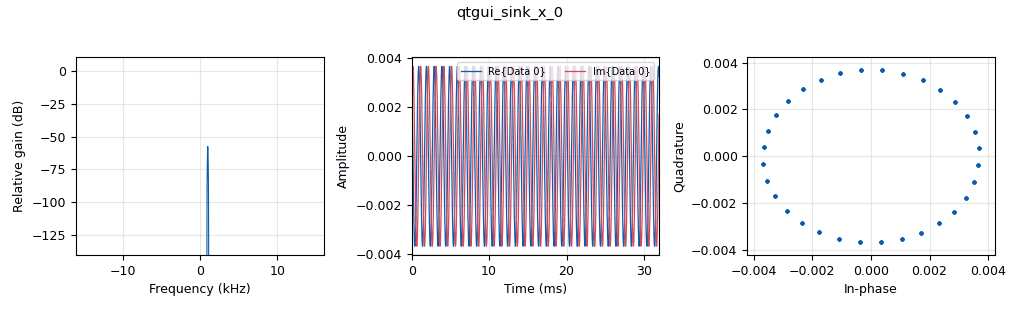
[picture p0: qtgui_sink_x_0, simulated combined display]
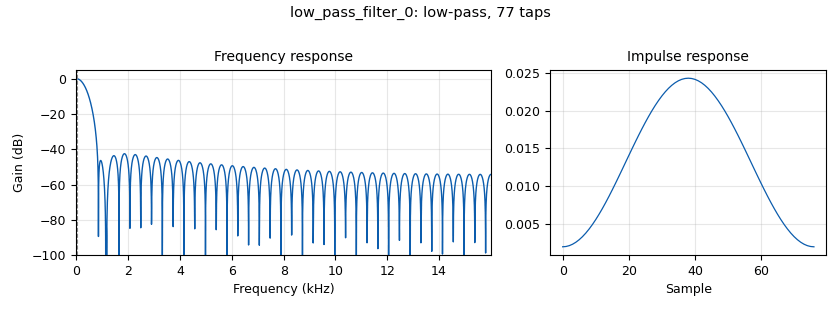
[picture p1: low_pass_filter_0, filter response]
options:
  parameters:
    generate_options: qt_gui
    id: link
    output_language: python
    title: Not titled yet
  states: {}

blocks:
- name: samp_rate
  id: variable
  parameters:
    value: '32000'
  states: {}
- name: analog_sig_source_x_0
  id: analog_sig_source_x
  parameters:
    amp: '1'
    freq: '1000'
    offset: '0'
    phase: '0'
    samp_rate: samp_rate
    type: complex
    waveform: analog.GR_COS_WAVE
  states: {}
- name: blocks_add_xx_0
  id: blocks_add_xx
  parameters:
    type: complex
  states: {}
- name: blocks_add_xx_1
  id: blocks_add_xx
  parameters:
    type: complex
  states: {}
- name: blocks_multiply_const_vxx_0
  id: blocks_multiply_const_vxx
  parameters:
    const: '1'
    type: complex
  states: {}
- name: blocks_phase_shift_0
  id: blocks_phase_shift
  parameters:
    is_radians: 'True'
    shift: '5.0'
  states: {}
- name: blocks_throttle2_0
  id: blocks_throttle2
  parameters:
    samples_per_second: samp_rate
    type: complex
  states: {}
- name: blocks_vector_source_x_0
  id: blocks_vector_source_x
  parameters:
    repeat: 'True'
    type: complex
    vector: (0, 0, 0)
  states: {}
- name: dc_blocker_xx_0
  id: dc_blocker_xx
  parameters:
    length: '32'
    long_form: 'True'
    type: cc
  states: {}
- name: digital_crc_check_0
  id: digital_crc_check
  parameters:
    poly: '0x4C11DB7'
  states: {}
- name: low_pass_filter_0
  id: low_pass_filter
  parameters:
    cutoff_freq: '10'
    gain: '1'
    interp: '1'
    samp_rate: samp_rate
    type: interp_fir_filter_ccf
    width: '1000'
    win: window.WIN_HAMMING
  states: {}
- name: pdu_random_pdu_0
  id: pdu_random_pdu
  parameters:
    length_modulo: '2'
    mask: '0xFF'
    maxsize: '2000'
    minsize: '50'
  states: {}
- name: qtgui_sink_x_0
  id: qtgui_sink_x
  parameters:
    bw: samp_rate
    fc: '0'
    fftsize: '1024'
    type: complex
  states: {}

connections:
- [analog_sig_source_x_0, '0', blocks_add_xx_0, '1']
- [blocks_add_xx_0, '0', blocks_phase_shift_0, '0']
- [blocks_add_xx_1, '0', blocks_throttle2_0, '0']
- [blocks_multiply_const_vxx_0, '0', dc_blocker_xx_0, '0']
- [blocks_phase_shift_0, '0', low_pass_filter_0, '0']
- [blocks_throttle2_0, '0', qtgui_sink_x_0, '0']
- [blocks_vector_source_x_0, '0', blocks_add_xx_0, '0']
- [blocks_vector_source_x_0, '0', blocks_multiply_const_vxx_0, '0']
- [dc_blocker_xx_0, '0', blocks_add_xx_1, '1']
- [digital_crc_check_0, fail, blocks_phase_shift_0, shift]
- [digital_crc_check_0, ok, blocks_phase_shift_0, shift]
- [low_pass_filter_0, '0', blocks_add_xx_1, '0']
- [pdu_random_pdu_0, pdus, digital_crc_check_0, in]

metadata:
  file_format: 1
  grc_version: 3.10.9.2
